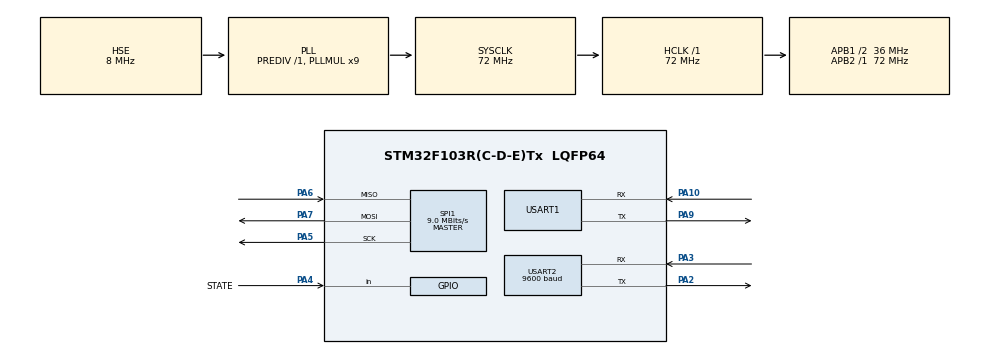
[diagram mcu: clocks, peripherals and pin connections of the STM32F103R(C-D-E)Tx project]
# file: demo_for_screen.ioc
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Mcu.Family=STM32F1
Mcu.Name=STM32F103R(C-D-E)Tx
Mcu.Package=LQFP64
NVIC.PriorityGroup=NVIC_PRIORITYGROUP_4
NVIC.USART2_IRQn=true\:1\:0\:true\:false\:true\:true\:true\:true
PA10.Mode=Asynchronous
PA10.Signal=USART1_RX
PA13.Mode=Serial_Wire
PA13.Signal=SYS_JTMS-SWDIO
PA14.Mode=Serial_Wire
PA14.Signal=SYS_JTCK-SWCLK
PA2.Mode=Asynchronous
PA2.Signal=USART2_TX
PA3.Mode=Asynchronous
PA3.Signal=USART2_RX
PA4.GPIO_Label=STATE
PA4.Signal=GPIO_Input
PA5.Mode=Full_Duplex_Master
PA5.Signal=SPI1_SCK
PA6.Mode=Full_Duplex_Master
PA6.Signal=SPI1_MISO
PA7.Mode=Full_Duplex_Master
PA7.Signal=SPI1_MOSI
PA9.Mode=Asynchronous
PA9.Signal=USART1_TX
PD0-OSC_IN.Mode=HSE-External-Oscillator
PD0-OSC_IN.Signal=RCC_OSC_IN
PD1-OSC_OUT.Mode=HSE-External-Oscillator
PD1-OSC_OUT.Signal=RCC_OSC_OUT
ProjectManager.HeapSize=0x200
ProjectManager.StackSize=0x400
ProjectManager.TargetToolchain=STM32CubeIDE
RCC.AHBFreq_Value=72000000
RCC.APB1CLKDivider=RCC_HCLK_DIV2
RCC.APB1Freq_Value=36000000
RCC.APB1TimFreq_Value=72000000
RCC.APB2Freq_Value=72000000
RCC.APB2TimFreq_Value=72000000
RCC.HCLKFreq_Value=72000000
RCC.PLLMUL=RCC_PLL_MUL9
RCC.PLLSourceVirtual=RCC_PLLSOURCE_HSE
RCC.SYSCLKFreq_VALUE=72000000
RCC.SYSCLKSource=RCC_SYSCLKSOURCE_PLLCLK
RCC.USBFreq_Value=72000000
SPI1.BaudRatePrescaler=SPI_BAUDRATEPRESCALER_8
SPI1.CalculateBaudRate=9.0 MBits/s
SPI1.Direction=SPI_DIRECTION_2LINES
SPI1.Mode=SPI_MODE_MASTER
SPI1.VirtualType=VM_MASTER
USART1.VirtualMode=VM_ASYNC
USART2.BaudRate=9600
USART2.VirtualMode=VM_ASYNC
board=custom

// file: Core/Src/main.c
/* USER CODE BEGIN Header */
/**
  ******************************************************************************
  * @file           : main.c
  * @brief          : Main program body
  ******************************************************************************
  * @attention
  *
  * Copyright (c) 2022 STMicroelectronics.
  * All rights reserved.
  *
  * This software is licensed under terms that can be found in the LICENSE file
  * in the root directory of this software component.
  * If no LICENSE file comes with this software, it is provided AS-IS.
  *
  ******************************************************************************
  */
/* USER CODE END Header */
#include "main.h"

/* USER CODE BEGIN Includes */

/* Private includes ----------------------------------------------------------*/
/* USER CODE BEGIN Includes */
#include "sys.h"
#include "delay.h"
//#include "usart.h"
#include "led.h"
#include "key.h"
#include "lcd.h"
//#include "usmart.h"
#include "touch.h"
#include "24cxx.h"
#include "24l01.h" //通信驱动 基于spi进行通信
//#include "remote.h" 红外遥控驱动
/* USER CODE END Includes */

/* USER CODE BEGIN PD */
int state_num = 0;
u8 STATE[30];
UART_HandleTypeDef huart1;
/* USER CODE END PD */

/* USER CODE BEGIN PM */
//清空屏幕并在右上角显�?"RST"
void Load_Drow_Dialog(void)
{
	LCD_Clear(WHITE);//清屏
 	POINT_COLOR=BLUE;//设置字体为蓝�?
	LCD_ShowString(lcddev.width-24,0,200,16,16,"RST");//显示清屏区域
  	POINT_COLOR=RED;//设置画笔蓝色
}
////////////////////////////////////////////////////////////////////////////////
//电容触摸屏专有部�?
//画水平线
//x0,y0:坐标
//len:线长�?
//color:颜色
void gui_draw_hline(u16 x0,u16 y0,u16 len,u16 color)
{
	if(len==0)return;
	LCD_Fill(x0,y0,x0+len-1,y0,color);
}
//画实心圆
//x0,y0:坐标
//r:半径
//color:颜色
void gui_fill_circle(u16 x0,u16 y0,u16 r,u16 color)
{
	u32 i;
	u32 imax = ((u32)r*707)/1000+1;
	u32 sqmax = (u32)r*(u32)r+(u32)r/2;
	u32 x=r;
	gui_draw_hline(x0-r,y0,2*r,color);
	for (i=1;i<=imax;i++)
	{
		if ((i*i+x*x)>sqmax)// draw lines from outside
		{
 			if (x>imax)
			{
				gui_draw_hline (x0-i+1,y0+x,2*(i-1),color);
				gui_draw_hline (x0-i+1,y0-x,2*(i-1),color);
			}
			x--;
		}
		// draw lines from inside (center)
		gui_draw_hline(x0-x,y0+i,2*x,color);
		gui_draw_hline(x0-x,y0-i,2*x,color);
	}
}
//两个数之差的绝对�?
//x1,x2：需取差值的两个�?
//返回值：|x1-x2|
u16 my_abs(u16 x1,u16 x2)
{
	if(x1>x2)return x1-x2;
	else return x2-x1;
}
//画一条粗�?
//(x1,y1),(x2,y2):线条的起始坐�?
//size：线条的粗细程度
//color：线条的颜色

void screen_print(){
	LCD_Clear(WHITE);//清屏
	POINT_COLOR=BLUE;//设置字体为蓝色
	LCD_ShowString(lcddev.width-24,0,200,16,16,"RST");//显示清屏区域
	LCD_ShowString(0,0,200,24,24, "SHOW PICTURE");
	LCD_ShowString(60,60,200,24,24, "SEND MESSAGE");
	LCD_ShowString(0, lcddev.height-24, 200, 16, 16, STATE);
	POINT_COLOR=RED;//设置画笔为红色

}

void screen_norm_print(){
//	LCD_Clear(WHITE);//清屏
	POINT_COLOR=BLUE;//设置字体为蓝色
	LCD_ShowString(lcddev.width-24,0,200,16,16,"RST");//显示清屏区域
	LCD_ShowString(0,0,200,24,24, "SHOW PICTURE");
	LCD_ShowString(60,60,200,24,24, "SEND MESSAGE");
	LCD_ShowString(0, lcddev.height-24, 200, 16, 16, STATE);
	POINT_COLOR=RED;//设置画笔为红色

}

void change_state(){
	if(state_num == 0){
		state_num = 1;
		sprintf(STATE, "STATE: ON");
	}else{
		state_num = 0;
		sprintf(STATE, "STATE: OFF");
	}
}

void lcd_draw_bline(u16 x1, u16 y1, u16 x2, u16 y2,u8 size,u16 color)
{
	u16 t;
	int xerr=0,yerr=0,delta_x,delta_y,distance;
	int incx,incy,uRow,uCol;
	if(x1<size|| x2<size||y1<size|| y2<size)return;
	delta_x=x2-x1; //计算坐标增量
	delta_y=y2-y1;
	uRow=x1;
	uCol=y1;
	if(delta_x>0)incx=1; //设置单步方向
	else if(delta_x==0)incx=0;//垂直�?
	else {incx=-1;delta_x=-delta_x;}
	if(delta_y>0)incy=1;
	else if(delta_y==0)incy=0;//水平�?
	else{incy=-1;delta_y=-delta_y;}
	if( delta_x>delta_y)distance=delta_x; //选取基本增量坐标�?
	else distance=delta_y;
	for(t=0;t<=distance+1;t++ )//画线输出
	{
		gui_fill_circle(uRow,uCol,size,color);//画点
		xerr+=delta_x ;
		yerr+=delta_y ;
		if(xerr>distance)
		{
			xerr-=distance;
			uRow+=incx;
		}
		if(yerr>distance)
		{
			yerr-=distance;
			uCol+=incy;
		}
	}
}

/* USER CODE END PM */

SPI_HandleTypeDef hspi1;

UART_HandleTypeDef huart1;
UART_HandleTypeDef huart2;

void SystemClock_Config(void);
static void MX_GPIO_Init(void);
static void MX_SPI1_Init(void);
static void MX_USART1_UART_Init(void);
static void MX_USART2_UART_Init(void);

int main(void)
{

  /* MCU Configuration--------------------------------------------------------*/

  /* Reset of all peripherals, Initializes the Flash interface and the Systick. */
  HAL_Init();

  /* USER CODE BEGIN Init */
  Stm32_Clock_Init(RCC_PLL_MUL9);   	//设置时钟,72M
	delay_init(72);               		//初始化延时函�?
//	uart_init(115200);					//初始化串�?
//	usmart_dev.init(84); 		  	  	//初始化USMART
	// LED_Init();							//初始化LED
	KEY_Init();							//初始化按�?
	LCD_Init();							//初始化LCD
	tp_dev.init();				   		//触摸屏初始化
  /* USER CODE END Init */

  /* Configure the system clock */
  SystemClock_Config();

  /* Initialize all configured peripherals */
  MX_GPIO_Init();
  MX_SPI1_Init();
  MX_USART1_UART_Init();
  MX_USART2_UART_Init();
  /* USER CODE BEGIN 2 */
 	Display_ShowMainMenu();
  	rtp_test(); //触摸屏测试
  /* USER CODE END 2 */

  /* Infinite loop */

}

void SystemClock_Config(void)
{
  RCC_OscInitTypeDef RCC_OscInitStruct = {0};
  RCC_ClkInitTypeDef RCC_ClkInitStruct = {0};

  /** Initializes the RCC Oscillators according to the specified parameters
  * in the RCC_OscInitTypeDef structure.
  */
  RCC_OscInitStruct.OscillatorType = RCC_OSCILLATORTYPE_HSE;
  RCC_OscInitStruct.HSEState = RCC_HSE_ON;
  RCC_OscInitStruct.HSEPredivValue = RCC_HSE_PREDIV_DIV1;
  RCC_OscInitStruct.HSIState = RCC_HSI_ON;
  RCC_OscInitStruct.PLL.PLLState = RCC_PLL_ON;
  RCC_OscInitStruct.PLL.PLLSource = RCC_PLLSOURCE_HSE;
  RCC_OscInitStruct.PLL.PLLMUL = RCC_PLL_MUL9;
  if (HAL_RCC_OscConfig(&RCC_OscInitStruct) != HAL_OK)
  {
    Error_Handler();
  }

  /** Initializes the CPU, AHB and APB buses clocks
  */
  RCC_ClkInitStruct.ClockType = RCC_CLOCKTYPE_HCLK|RCC_CLOCKTYPE_SYSCLK
                              |RCC_CLOCKTYPE_PCLK1|RCC_CLOCKTYPE_PCLK2;
  RCC_ClkInitStruct.SYSCLKSource = RCC_SYSCLKSOURCE_PLLCLK;
  RCC_ClkInitStruct.AHBCLKDivider = RCC_SYSCLK_DIV1;
  RCC_ClkInitStruct.APB1CLKDivider = RCC_HCLK_DIV2;
  RCC_ClkInitStruct.APB2CLKDivider = RCC_HCLK_DIV1;

  if (HAL_RCC_ClockConfig(&RCC_ClkInitStruct, FLASH_LATENCY_2) != HAL_OK)
  {
    Error_Handler();
  }
}

static void MX_SPI1_Init(void)
{

  /* SPI1 parameter configuration*/
  hspi1.Instance = SPI1;
  hspi1.Init.Mode = SPI_MODE_MASTER;
  hspi1.Init.Direction = SPI_DIRECTION_2LINES;
  hspi1.Init.DataSize = SPI_DATASIZE_8BIT;
  hspi1.Init.CLKPolarity = SPI_POLARITY_LOW;
  hspi1.Init.CLKPhase = SPI_PHASE_1EDGE;
  hspi1.Init.NSS = SPI_NSS_SOFT;
  hspi1.Init.BaudRatePrescaler = SPI_BAUDRATEPRESCALER_8;
  hspi1.Init.FirstBit = SPI_FIRSTBIT_MSB;
  hspi1.Init.TIMode = SPI_TIMODE_DISABLE;
  hspi1.Init.CRCCalculation = SPI_CRCCALCULATION_DISABLE;
  hspi1.Init.CRCPolynomial = 10;
  if (HAL_SPI_Init(&hspi1) != HAL_OK)
  {
    Error_Handler();
  }

}

static void MX_USART1_UART_Init(void)
{

  huart1.Instance = USART1;
  huart1.Init.BaudRate = 115200;
  huart1.Init.WordLength = UART_WORDLENGTH_8B;
  huart1.Init.StopBits = UART_STOPBITS_1;
  huart1.Init.Parity = UART_PARITY_NONE;
  huart1.Init.Mode = UART_MODE_TX_RX;
  huart1.Init.HwFlowCtl = UART_HWCONTROL_NONE;
  huart1.Init.OverSampling = UART_OVERSAMPLING_16;
  if (HAL_UART_Init(&huart1) != HAL_OK)
  {
    Error_Handler();
  }

}

static void MX_USART2_UART_Init(void)
{

  huart2.Instance = USART2;
  huart2.Init.BaudRate = 9600;
  huart2.Init.WordLength = UART_WORDLENGTH_8B;
  huart2.Init.StopBits = UART_STOPBITS_1;
  huart2.Init.Parity = UART_PARITY_NONE;
  huart2.Init.Mode = UART_MODE_TX_RX;
  huart2.Init.HwFlowCtl = UART_HWCONTROL_NONE;
  huart2.Init.OverSampling = UART_OVERSAMPLING_16;
  if (HAL_UART_Init(&huart2) != HAL_OK)
  {
    Error_Handler();
  }

}

static void MX_GPIO_Init(void)
{
  GPIO_InitTypeDef GPIO_InitStruct = {0};

  /* GPIO Ports Clock Enable */
  __HAL_RCC_GPIOD_CLK_ENABLE();
  __HAL_RCC_GPIOA_CLK_ENABLE();

  /*Configure GPIO pin : STATE_Pin */
  GPIO_InitStruct.Pin = STATE_Pin;
  GPIO_InitStruct.Mode = GPIO_MODE_INPUT;
  GPIO_InitStruct.Pull = GPIO_NOPULL;
  HAL_GPIO_Init(STATE_GPIO_Port, &GPIO_InitStruct);

}

void Error_Handler(void)
{
  __disable_irq();
  while (1)
  {
  }
}
